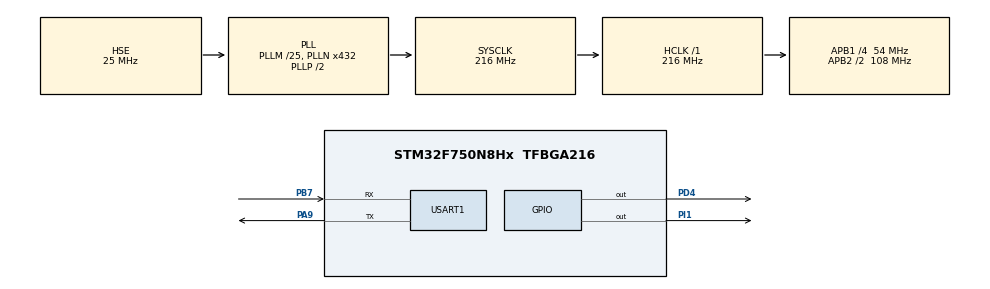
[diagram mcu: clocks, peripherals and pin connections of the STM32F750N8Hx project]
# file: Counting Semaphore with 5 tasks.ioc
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FREERTOS.Tasks01=defaultTask,24,128,StartDefaultTask,Default,NULL,Dynamic,NULL,NULL
Mcu.Family=STM32F7
Mcu.Name=STM32F750N8Hx
Mcu.Package=TFBGA216
NVIC.PriorityGroup=NVIC_PRIORITYGROUP_4
NVIC.TIM1_UP_TIM10_IRQn=true\:15\:0\:false\:false\:true\:false\:false\:true
NVIC.TimeBase=TIM1_UP_TIM10_IRQn
NVIC.TimeBaseIP=TIM1
PA9.Mode=Asynchronous
PA9.Signal=USART1_TX
PB7.Mode=Asynchronous
PB7.Signal=USART1_RX
PD4.Signal=GPIO_Output
PH0/OSC_IN.Mode=HSE-External-Oscillator
PH0/OSC_IN.Signal=RCC_OSC_IN
PH1/OSC_OUT.Mode=HSE-External-Oscillator
PH1/OSC_OUT.Signal=RCC_OSC_OUT
PI1.Signal=GPIO_Output
ProjectManager.HeapSize=0x200
ProjectManager.StackSize=0x400
ProjectManager.TargetToolchain=EWARM V8.32
RCC.AHBFreq_Value=216000000
RCC.APB1CLKDivider=RCC_HCLK_DIV4
RCC.APB1Freq_Value=54000000
RCC.APB1TimFreq_Value=108000000
RCC.APB2CLKDivider=RCC_HCLK_DIV2
RCC.APB2Freq_Value=108000000
RCC.APB2TimFreq_Value=216000000
RCC.CortexFreq_Value=216000000
RCC.HCLKFreq_Value=216000000
RCC.HSE_VALUE=25000000
RCC.HSI_VALUE=16000000
RCC.PLL48CLockSelection=RCC_CLK48SOURCE_PLLSAIP
RCC.PLLI2SN=100
RCC.PLLM=25
RCC.PLLN=432
RCC.PLLQ=9
RCC.PLLSAIN=384
RCC.PLLSAIP=RCC_PLLSAIP_DIV8
RCC.PLLSAIR=5
RCC.PLLSourceVirtual=RCC_PLLSOURCE_HSE
RCC.SDMMCClockSelection=RCC_SDMMC1CLKSOURCE_CLK48
RCC.SYSCLKFreq_VALUE=216000000
RCC.SYSCLKSource=RCC_SYSCLKSOURCE_PLLCLK
RCC.USBFreq_Value=48000000
RCC.VCOOutputFreq_Value=432000000
USART1.VirtualMode-Asynchronous=VM_ASYNC
VP_FREERTOS_VS_CMSIS_V2.Mode=CMSIS_V2
VP_SYS_VS_tim1.Mode=TIM1
board=STM32F7508-DK

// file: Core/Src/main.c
/* USER CODE BEGIN Header */
/**
  ******************************************************************************
  * @file           : main.c
  * @brief          : Main program body
  ******************************************************************************
  * @attention
  *
  * Copyright (c) 2025 STMicroelectronics.
  * All rights reserved.
  *
  * This software is licensed under terms that can be found in the LICENSE file
  * in the root directory of this software component.
  * If no LICENSE file comes with this software, it is provided AS-IS.
  *
  ******************************************************************************
  */
/* USER CODE END Header */
#include "main.h"
#include "cmsis_os.h"
#include "semphr.h"
#include <stdio.h>
#include <string.h>

UART_HandleTypeDef huart1;

void SystemClock_Config(void);
static void MX_GPIO_Init(void);
static void MX_USART1_UART_Init(void);
void StartDefaultTask(void *argument);

/* USER CODE BEGIN PFP */
/* USER CODE BEGIN PV */
SemaphoreHandle_t xCountingSemaphore; // Counting semaphore
/* USER CODE END PV */

/* USER CODE BEGIN PFP */
void Task1(void *pvParameters);
void Task2(void *pvParameters);
void Task3(void *pvParameters);
/* USER CODE END PFP */

int main(void)
{
  HAL_Init();
  SystemClock_Config();
  MX_GPIO_Init();
  MX_USART1_UART_Init();

  /* Create counting semaphore with max count = 2, initial count = 2 */
  xCountingSemaphore = xSemaphoreCreateCounting(2, 2);
  if(xCountingSemaphore == NULL) Error_Handler();

  /* Create separate tasks */
  xTaskCreate(Task1, "Task1", 256, NULL, 2, NULL);
  xTaskCreate(Task2, "Task2", 256, NULL, 2, NULL);
  xTaskCreate(Task3, "Task3", 256, NULL, 1, NULL);

  /* Start FreeRTOS scheduler */
  vTaskStartScheduler();

  while(1) {}
}

/* USER CODE BEGIN 4 */

/* USER CODE BEGIN 4 */
void UART_Print(char *msg)
{
    HAL_UART_Transmit(&huart1, (uint8_t*)msg, strlen(msg), HAL_MAX_DELAY);
}

/* Task1 - PD4 LED */
void Task1(void *pvParameters)
{
    char msg[100];
    for(;;)
    {
        sprintf(msg, "Task1 waiting for semaphore...\r\n");
        UART_Print(msg);

        if(xSemaphoreTake(xCountingSemaphore, portMAX_DELAY) == pdTRUE)
        {
            sprintf(msg, "Task1 acquired semaphore! LED PD4 ON\r\n");
            UART_Print(msg);
            HAL_GPIO_WritePin(GPIOD, GPIO_PIN_4, GPIO_PIN_SET);

            vTaskDelay(pdMS_TO_TICKS(2000)); // Simulate work

            HAL_GPIO_WritePin(GPIOD, GPIO_PIN_4, GPIO_PIN_RESET);
            sprintf(msg, "Task1 released semaphore! LED PD4 OFF\r\n");
            UART_Print(msg);

            xSemaphoreGive(xCountingSemaphore);
            vTaskDelay(pdMS_TO_TICKS(500));
        }
    }
}

/* Task2 - PI1 LED */
void Task2(void *pvParameters)
{
    char msg[100];
    for(;;)
    {
        sprintf(msg, "Task2 waiting for semaphore...\r\n");
        UART_Print(msg);

        if(xSemaphoreTake(xCountingSemaphore, portMAX_DELAY) == pdTRUE)
        {
            sprintf(msg, "Task2 acquired semaphore! LED PI1 ON\r\n");
            UART_Print(msg);
            HAL_GPIO_WritePin(GPIOI, GPIO_PIN_1, GPIO_PIN_SET);

            vTaskDelay(pdMS_TO_TICKS(2000)); // Simulate work

            HAL_GPIO_WritePin(GPIOI, GPIO_PIN_1, GPIO_PIN_RESET);
            sprintf(msg, "Task2 released semaphore! LED PI1 OFF\r\n");
            UART_Print(msg);

            xSemaphoreGive(xCountingSemaphore);
            vTaskDelay(pdMS_TO_TICKS(500));
        }
    }
}

/* Task3 - No LED, just semaphore counting */
void Task3(void *pvParameters)
{
    char msg[100];
    for(;;)
    {
        sprintf(msg, "Task3 waiting for semaphore...\r\n");
        UART_Print(msg);

        if(xSemaphoreTake(xCountingSemaphore, portMAX_DELAY) == pdTRUE)
        {
            sprintf(msg, "Task3 acquired semaphore! Doing work...\r\n");
            UART_Print(msg);

            vTaskDelay(pdMS_TO_TICKS(1500)); // Simulate work

            sprintf(msg, "Task3 released semaphore!\r\n");
            UART_Print(msg);
            xSemaphoreGive(xCountingSemaphore);

            vTaskDelay(pdMS_TO_TICKS(500));
        }
    }
}
/* USER CODE END 4 */

void SystemClock_Config(void)
{
  RCC_OscInitTypeDef RCC_OscInitStruct = {0};
  RCC_ClkInitTypeDef RCC_ClkInitStruct = {0};

  /** Configure the main internal regulator output voltage
  */
  __HAL_RCC_PWR_CLK_ENABLE();
  __HAL_PWR_VOLTAGESCALING_CONFIG(PWR_REGULATOR_VOLTAGE_SCALE1);
  /** Initializes the RCC Oscillators according to the specified parameters
  * in the RCC_OscInitTypeDef structure.
  */
  RCC_OscInitStruct.OscillatorType = RCC_OSCILLATORTYPE_HSE;
  RCC_OscInitStruct.HSEState = RCC_HSE_ON;
  RCC_OscInitStruct.PLL.PLLState = RCC_PLL_ON;
  RCC_OscInitStruct.PLL.PLLSource = RCC_PLLSOURCE_HSE;
  RCC_OscInitStruct.PLL.PLLM = 25;
  RCC_OscInitStruct.PLL.PLLN = 432;
  RCC_OscInitStruct.PLL.PLLP = RCC_PLLP_DIV2;
  RCC_OscInitStruct.PLL.PLLQ = 9;
  if (HAL_RCC_OscConfig(&RCC_OscInitStruct) != HAL_OK)
  {
    Error_Handler();
  }
  /** Activate the Over-Drive mode
  */
  if (HAL_PWREx_EnableOverDrive() != HAL_OK)
  {
    Error_Handler();
  }
  /** Initializes the CPU, AHB and APB buses clocks
  */
  RCC_ClkInitStruct.ClockType = RCC_CLOCKTYPE_HCLK|RCC_CLOCKTYPE_SYSCLK
                              |RCC_CLOCKTYPE_PCLK1|RCC_CLOCKTYPE_PCLK2;
  RCC_ClkInitStruct.SYSCLKSource = RCC_SYSCLKSOURCE_PLLCLK;
  RCC_ClkInitStruct.AHBCLKDivider = RCC_SYSCLK_DIV1;
  RCC_ClkInitStruct.APB1CLKDivider = RCC_HCLK_DIV4;
  RCC_ClkInitStruct.APB2CLKDivider = RCC_HCLK_DIV2;

  if (HAL_RCC_ClockConfig(&RCC_ClkInitStruct, FLASH_LATENCY_7) != HAL_OK)
  {
    Error_Handler();
  }
}

static void MX_USART1_UART_Init(void)
{

  huart1.Instance = USART1;
  huart1.Init.BaudRate = 115200;
  huart1.Init.WordLength = UART_WORDLENGTH_8B;
  huart1.Init.StopBits = UART_STOPBITS_1;
  huart1.Init.Parity = UART_PARITY_NONE;
  huart1.Init.Mode = UART_MODE_TX_RX;
  huart1.Init.HwFlowCtl = UART_HWCONTROL_NONE;
  huart1.Init.OverSampling = UART_OVERSAMPLING_16;
  huart1.Init.OneBitSampling = UART_ONE_BIT_SAMPLE_DISABLE;
  huart1.AdvancedInit.AdvFeatureInit = UART_ADVFEATURE_NO_INIT;
  if (HAL_UART_Init(&huart1) != HAL_OK)
  {
    Error_Handler();
  }

}

static void MX_GPIO_Init(void)
{
  GPIO_InitTypeDef GPIO_InitStruct = {0};

  /* GPIO Ports Clock Enable */
  __HAL_RCC_GPIOB_CLK_ENABLE();
  __HAL_RCC_GPIOD_CLK_ENABLE();
  __HAL_RCC_GPIOI_CLK_ENABLE();
  __HAL_RCC_GPIOA_CLK_ENABLE();
  __HAL_RCC_GPIOH_CLK_ENABLE();

  /*Configure GPIO pin Output Level */
  HAL_GPIO_WritePin(GPIOD, GPIO_PIN_4, GPIO_PIN_RESET);

  /*Configure GPIO pin Output Level */
  HAL_GPIO_WritePin(GPIOI, GPIO_PIN_1, GPIO_PIN_RESET);

  /*Configure GPIO pin : PD4 */
  GPIO_InitStruct.Pin = GPIO_PIN_4;
  GPIO_InitStruct.Mode = GPIO_MODE_OUTPUT_PP;
  GPIO_InitStruct.Pull = GPIO_NOPULL;
  GPIO_InitStruct.Speed = GPIO_SPEED_FREQ_LOW;
  HAL_GPIO_Init(GPIOD, &GPIO_InitStruct);

  /*Configure GPIO pin : PI1 */
  GPIO_InitStruct.Pin = GPIO_PIN_1;
  GPIO_InitStruct.Mode = GPIO_MODE_OUTPUT_PP;
  GPIO_InitStruct.Pull = GPIO_NOPULL;
  GPIO_InitStruct.Speed = GPIO_SPEED_FREQ_LOW;
  HAL_GPIO_Init(GPIOI, &GPIO_InitStruct);

}

void StartDefaultTask(void *argument)
{
  for(;;)
  {
    osDelay(1);
  }
}

void HAL_TIM_PeriodElapsedCallback(TIM_HandleTypeDef *htim)
{
  if (htim->Instance == TIM1) {
    HAL_IncTick();
  }
}

void Error_Handler(void)
{
  __disable_irq();
  while (1)
  {
  }
}
